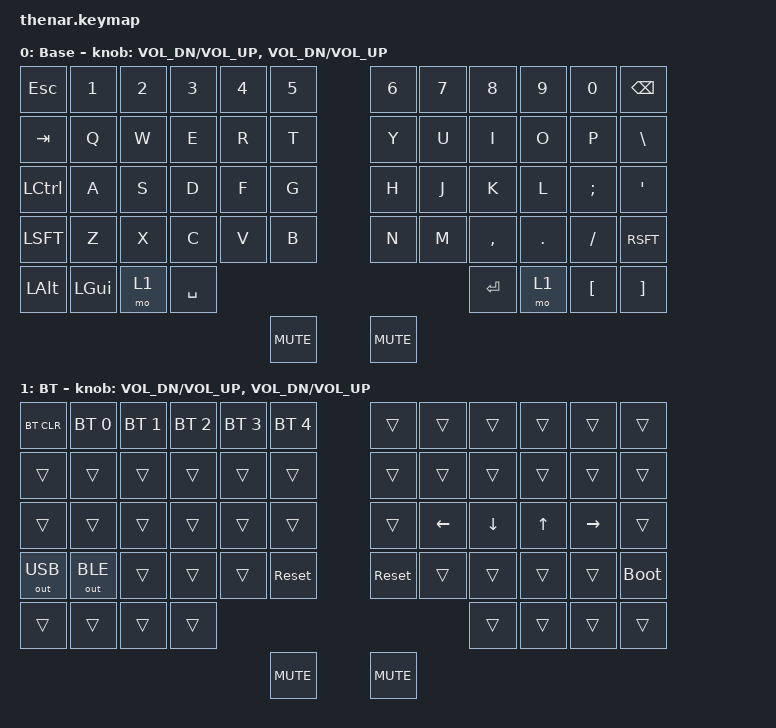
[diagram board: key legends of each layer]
#include <behaviors.dtsi>
#include <dt-bindings/zmk/keys.h>
#include <dt-bindings/zmk/bt.h>
#include <dt-bindings/zmk/outputs.h>
#include <dt-bindings/zmk/pointing.h>

// Minimal default keymap for thenar. The keyboard ships with this so a
// freshly-flashed Nice!Nano works out of the box - but most users will
// fork this into their own zmk-config repo and write a real keymap.
//
// Position layout (56 keys, left half then right half, top-to-bottom):
//
//   num   :  0  1  2  3  4  5    |    6  7  8  9 10 11
//   top   : 12 13 14 15 16 17    |   18 19 20 21 22 23
//   home  : 24 25 26 27 28 29    |   30 31 32 33 34 35
//   bot   : 36 37 38 39 40 41    |   42 43 44 45 46 47
//   mod   :        48 49 50 51   |   52 53 54 55
//                  ^^^ ^^^ ^^^  ^^^  ^^^ ^^^ ^^^ ^^^
//             middle  index thumb thumb thumb thumb index middle
//              mod   mod   layer space space layer mod    mod
//
// One layer (base) with QWERTY + bottom-row modifiers + thumb-cluster
// space/enter/layer. Bluetooth pairing on the BT layer.

/ {
    behaviors {
        // Scrollwheel rotation -> vertical mouse scroll. Swap the two
        // bindings if the direction feels inverted on your mount.
        scroll_encoder: scroll_encoder {
            compatible = "zmk,behavior-sensor-rotate";
            #sensor-binding-cells = <0>;
            bindings = <&msc SCRL_UP>, <&msc SCRL_DOWN>;
        };
    };

    keymap {
        compatible = "zmk,keymap";

        // The last two positions on each layer are the encoder push
        // switches (56 = left half, 57 = right half).
        base_layer {
            display-name = "Base";
            bindings = <
&kp ESC   &kp N1   &kp N2 &kp N3 &kp N4 &kp N5                                         &kp N6 &kp N7 &kp N8    &kp N9  &kp N0   &kp BSPC
&kp TAB   &kp Q    &kp W  &kp E  &kp R  &kp T                                          &kp Y  &kp U  &kp I     &kp O   &kp P    &kp BSLH
&kp LCTL  &kp A    &kp S  &kp D  &kp F  &kp G                                          &kp H  &kp J  &kp K     &kp L   &kp SEMI &kp SQT
&kp LSFT  &kp Z    &kp X  &kp C  &kp V  &kp B                                          &kp N  &kp M  &kp COMMA &kp DOT &kp FSLH &kp RSFT
                                 &kp LALT &kp LGUI &mo 1 &kp SPACE  &kp ENTER &mo 1    &kp LBKT &kp RBKT
&kp K_MUTE &kp K_MUTE
            >;

            // Volume for now - easy to verify on screen while bringing up
            // the hardware. For scrollwheel behavior swap these to
            // <&scroll_encoder &scroll_encoder> and the presses above to
            // &mkp MCLK.
            sensor-bindings = <&inc_dec_kp C_VOL_DN C_VOL_UP &inc_dec_kp C_VOL_DN C_VOL_UP>;
        };

        bt_layer {
            display-name = "BT";
            bindings = <
&bt BT_CLR  &bt BT_SEL 0 &bt BT_SEL 1 &bt BT_SEL 2 &bt BT_SEL 3 &bt BT_SEL 4                                                            &trans      &trans      &trans      &trans      &trans      &trans
&trans      &trans       &trans       &trans       &trans       &trans                                                                  &trans      &trans      &trans      &trans      &trans      &trans
&trans      &trans       &trans       &trans       &trans       &trans                                                                  &trans      &kp LEFT    &kp DOWN    &kp UP      &kp RIGHT   &trans
&out OUT_USB &out OUT_BLE &trans      &trans       &trans       &sys_reset                                                              &sys_reset  &trans      &trans      &trans      &trans      &bootloader
                                                   &trans       &trans       &trans      &trans       &trans      &trans                &trans      &trans
&kp K_MUTE &kp K_MUTE
            >;

            sensor-bindings = <&inc_dec_kp C_VOL_DN C_VOL_UP &inc_dec_kp C_VOL_DN C_VOL_UP>;
        };
    };
};
